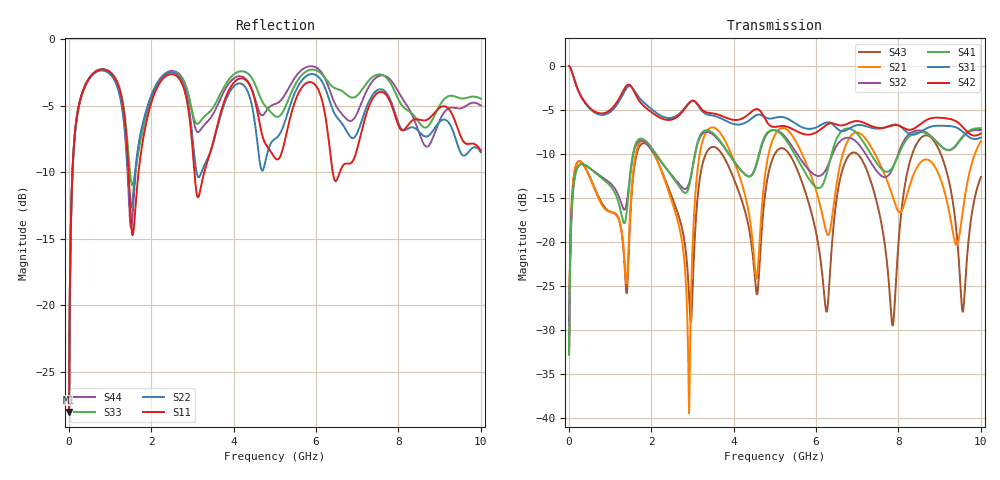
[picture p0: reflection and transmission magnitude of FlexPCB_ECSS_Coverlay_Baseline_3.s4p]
! TOUCHSTONE file generated by CST MICROWAVE STUDIO
! Date and time: Sun Jul  5 19:09:31 2026
! Project name: FlexPCB_ECSS_Coverlay_Baseline.cst
! Parameters = {Gap=0.4; GroundW=4.2; Hadh=0.025; Hcov=0.025; Hsub=0.1; L=50; Tcu=0.035; W=0.18}
! Header version: 2024
! Port assignment regex: !\s*Touchstone port\s*([0-9]+)\s*=\s*(CST MWS port|CST DES external port|CST DES block port)\s*(.+)\s* \(\"(.*)\"\)(\s*mode\s*([0-9]+))?.*
! Touchstone port assignment:
! Touchstone port 1 = CST MWS port 1 ("")
! Touchstone port 2 = CST MWS port 2 ("")
! Touchstone port 3 = CST MWS port 3 ("")
! Touchstone port 4 = CST MWS port 4 ("")
# GHz S MA R 50
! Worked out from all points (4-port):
!   1002 points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, 10 MHz to 10 GHz, reference 50 ohm
!   strongest paths, dB at 10 MHz, 2.51 GHz, 5.01 GHz, 7.503 GHz, 10 GHz:
!     S42: 0.0, -6.1, -6.9, -7.0, -7.7
!     S31: 0.0, -5.9, -5.9, -7.1, -8.1
!     S41: -32.8, -12.6, -7.3, -11.2, -7.1
!     S32: -32.8, -12.5, -7.3, -12.1, -7.3
!     S21: -31.8, -15.5, -7.8, -10.7, -8.6
!     S43: -31.8, -15.0, -9.9, -16.0, -12.6
!   lowest |S11| = -28.0 dB at 10 MHz (marker M1), VSWR 1.08, Z = 49.7 - j3.95 ohm
!   |S11| at or under -10 dB: 1.452 GHz to 1.695 GHz (242.3 MHz wide, 15.4 % of centre); 3.05 GHz to 3.289 GHz (238.7 MHz wide, 7.53 % of centre); 6.405 GHz to 6.577 GHz (171.6 MHz wide, 2.64 % of centre)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
0.01  0.03967 -92.1  0.02581 84.9  0.9974 -2.8  0.023 84.9
      0.02581 84.9  0.03926 -92.0  0.023 84.9  0.9974 -2.7
      0.9974 -2.8  0.023 84.9  0.03968 -92.0  0.02581 85.0
      0.023 84.9  0.9974 -2.7  0.02581 85.0  0.03926 -92.0
0.41  0.6756 -158.0  0.2609 -9.8  0.6097 -58.6  0.2722 -33.1
      0.2609 -9.8  0.6709 -157.3  0.2731 -32.7  0.6151 -58.5
      0.6097 -58.6  0.2731 -32.7  0.6757 -156.4  0.2634 -9.4
      0.2722 -33.1  0.6151 -58.5  0.2634 -9.4  0.6706 -156.8
1.5  0.2242 141.9  0.1615 66.2  0.7673 -164.7  0.2508 -97.2
     0.1615 66.2  0.2369 164.6  0.2515 -105.5  0.7747 -169.2
     0.7673 -164.7  0.2515 -105.5  0.3034 159.6  0.148 68.7
     0.2508 -97.2  0.7747 -169.2  0.148 68.7  0.1985 166.1
2.91  0.5354 142.1  0.01427 -105.9  0.6148 49.0  0.203 100.5
      0.01427 -105.9  0.5598 144.8  0.2124 95.7  0.6103 49.7
      0.6148 49.0  0.2124 95.7  0.6115 163.5  0.05491 -26.4
      0.203 100.5  0.6103 49.7  0.05491 -26.4  0.6111 161.9
3.11  0.2598 156.3  0.237 79.4  0.6092 17.7  0.3559 85.4
      0.237 79.4  0.3113 155.3  0.3508 80.5  0.6146 18.6
      0.6092 17.7  0.3508 80.5  0.48 172.7  0.1614 62.0
      0.3559 85.4  0.6146 18.6  0.1614 62.0  0.4494 170.9
5.01  0.3565 172.4  0.4085 21.2  0.5082 179.1  0.4305 -144.1
      0.4085 21.2  0.422 -173.0  0.4321 -145.3  0.451 173.3
      0.5082 179.1  0.4321 -145.3  0.5132 171.9  0.3194 12.1
      0.4305 -144.1  0.451 173.3  0.3194 12.1  0.57 -179.3
10  0.3805 167.4  0.3734 31.7  0.3924 -5.9  0.4434 43.0
    0.3734 31.7  0.3751 163.4  0.4329 39.5  0.4133 -4.5
    0.3924 -5.9  0.4329 39.5  0.5962 155.0  0.2336 3.0
    0.4434 43.0  0.4133 -4.5  0.2336 3.0  0.562 161.7
